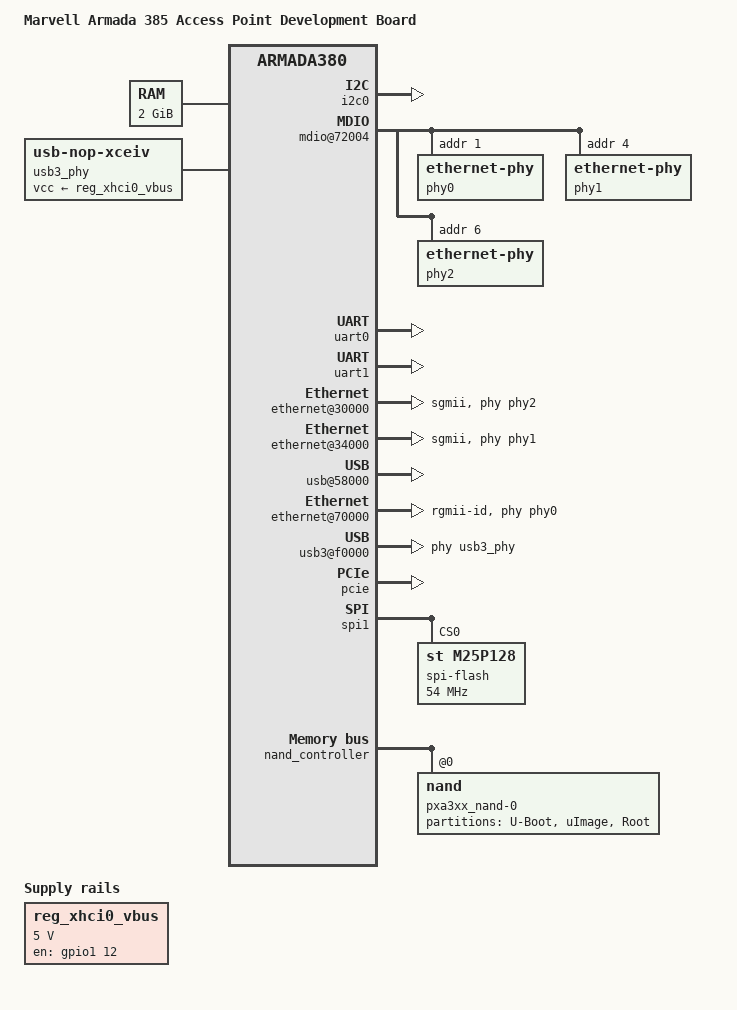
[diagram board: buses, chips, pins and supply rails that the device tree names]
// SPDX-License-Identifier: (GPL-2.0 OR MIT)
/*
 * Device Tree file for Marvell Armada 385 Access Point Development board
 * (DB-88F6820-AP)
 *
 *  Copyright (C) 2014 Marvell
 *
 * Nadav Haklai <nadavh@marvell.com>
 */

/dts-v1/;
#include "armada-385.dtsi"

#include <dt-bindings/gpio/gpio.h>

/ {
	model = "Marvell Armada 385 Access Point Development Board";
	compatible = "marvell,a385-db-ap", "marvell,armada385", "marvell,armada380";

	chosen {
		stdout-path = "serial1:115200n8";
	};

	memory {
		device_type = "memory";
		reg = <0x00000000 0x80000000>; /* 2GB */
	};

	soc {
		ranges = <MBUS_ID(0xf0, 0x01) 0 0xf1000000 0x100000
			  MBUS_ID(0x01, 0x1d) 0 0xfff00000 0x100000
			  MBUS_ID(0x09, 0x19) 0 0xf1100000 0x10000
			  MBUS_ID(0x09, 0x15) 0 0xf1110000 0x10000
			  MBUS_ID(0x0c, 0x04) 0 0xf1200000 0x100000>;

		internal-regs {
			i2c0: i2c@11000 {
				pinctrl-names = "default";
				pinctrl-0 = <&i2c0_pins>;
				status = "okay";

				/*
				 * This bus is wired to two EEPROM
				 * sockets, one of which holding the
				 * board ID used by the	bootloader.
				 * Erasing this EEPROM's content will
				 * brick the board.
				 * Use this bus with caution.
				 */
			};

			mdio@72004 {
				pinctrl-names = "default";
				pinctrl-0 = <&mdio_pins>;

				phy0: ethernet-phy@1 {
					reg = <1>;
				};

				phy1: ethernet-phy@4 {
					reg = <4>;
				};

				phy2: ethernet-phy@6 {
					reg = <6>;
				};
			};

			/* UART0 is exposed through the JP8 connector */
			uart0: serial@12000 {
				pinctrl-names = "default";
				pinctrl-0 = <&uart0_pins>;
				status = "okay";
			};

			/*
			 * UART1 is exposed through a FTDI chip
			 * wired to the mini-USB connector
			 */
			uart1: serial@12100 {
				pinctrl-names = "default";
				pinctrl-0 = <&uart1_pins>;
				status = "okay";
			};

			pinctrl@18000 {
				xhci0_vbus_pins: xhci0-vbus-pins {
					marvell,pins = "mpp44";
					marvell,function = "gpio";
				};
			};

			/* CON3 */
			ethernet@30000 {
				status = "okay";
				phy = <&phy2>;
				phy-mode = "sgmii";
				buffer-manager = <&bm>;
				bm,pool-long = <1>;
				bm,pool-short = <3>;
			};

			/* CON2 */
			ethernet@34000 {
				status = "okay";
				phy = <&phy1>;
				phy-mode = "sgmii";
				buffer-manager = <&bm>;
				bm,pool-long = <2>;
				bm,pool-short = <3>;
			};

			usb@58000 {
				status = "okay";
			};

			/* CON4 */
			ethernet@70000 {
				pinctrl-names = "default";

				/*
				 * The Reference Clock 0 is used to
				 * provide a clock to the PHY
				 */
				pinctrl-0 = <&ge0_rgmii_pins>, <&ref_clk0_pins>;
				status = "okay";
				phy = <&phy0>;
				phy-mode = "rgmii-id";
				buffer-manager = <&bm>;
				bm,pool-long = <0>;
				bm,pool-short = <3>;
			};

			bm@c8000 {
				status = "okay";
			};

			usb3@f0000 {
				status = "okay";
				usb-phy = <&usb3_phy>;
			};
		};

		bm-bppi {
			status = "okay";
		};

		pcie {
			status = "okay";

			/*
			 * The three PCIe units are accessible through
			 * standard mini-PCIe slots on the board.
			 */
			pcie@1,0 {
				/* Port 0, Lane 0 */
				status = "okay";
			};

			pcie@2,0 {
				/* Port 1, Lane 0 */
				status = "okay";
			};

			pcie@3,0 {
				/* Port 2, Lane 0 */
				status = "okay";
			};
		};
	};

	usb3_phy: usb3_phy {
		compatible = "usb-nop-xceiv";
		vcc-supply = <&reg_xhci0_vbus>;
		#phy-cells = <0>;
	};

	reg_xhci0_vbus: xhci0-vbus {
		compatible = "regulator-fixed";
		pinctrl-names = "default";
		pinctrl-0 = <&xhci0_vbus_pins>;
		regulator-name = "xhci0-vbus";
		regulator-min-microvolt = <5000000>;
		regulator-max-microvolt = <5000000>;
		enable-active-high;
		gpio = <&gpio1 12 GPIO_ACTIVE_HIGH>;
	};
};

&spi1 {
	pinctrl-names = "default";
	pinctrl-0 = <&spi1_pins>;
	status = "okay";

	spi-flash@0 {
		#address-cells = <1>;
		#size-cells = <1>;
		compatible = "st,m25p128", "jedec,spi-nor";
		reg = <0>; /* Chip select 0 */
		spi-max-frequency = <54000000>;
	};
};

&nand_controller {
	status = "okay";

	nand@0 {
		reg = <0>;
		label = "pxa3xx_nand-0";
		nand-rb = <0>;
		nand-on-flash-bbt;
		nand-ecc-strength = <4>;
		nand-ecc-step-size = <512>;

		partitions {
			compatible = "fixed-partitions";
			#address-cells = <1>;
			#size-cells = <1>;

			partition@0 {
				label = "U-Boot";
				reg = <0x00000000 0x00800000>;
				read-only;
			};

			partition@800000 {
				label = "uImage";
				reg = <0x00800000 0x00400000>;
				read-only;
			};

			partition@c00000 {
				label = "Root";
				reg = <0x00c00000 0x3f400000>;
			};
		};
	};
};
